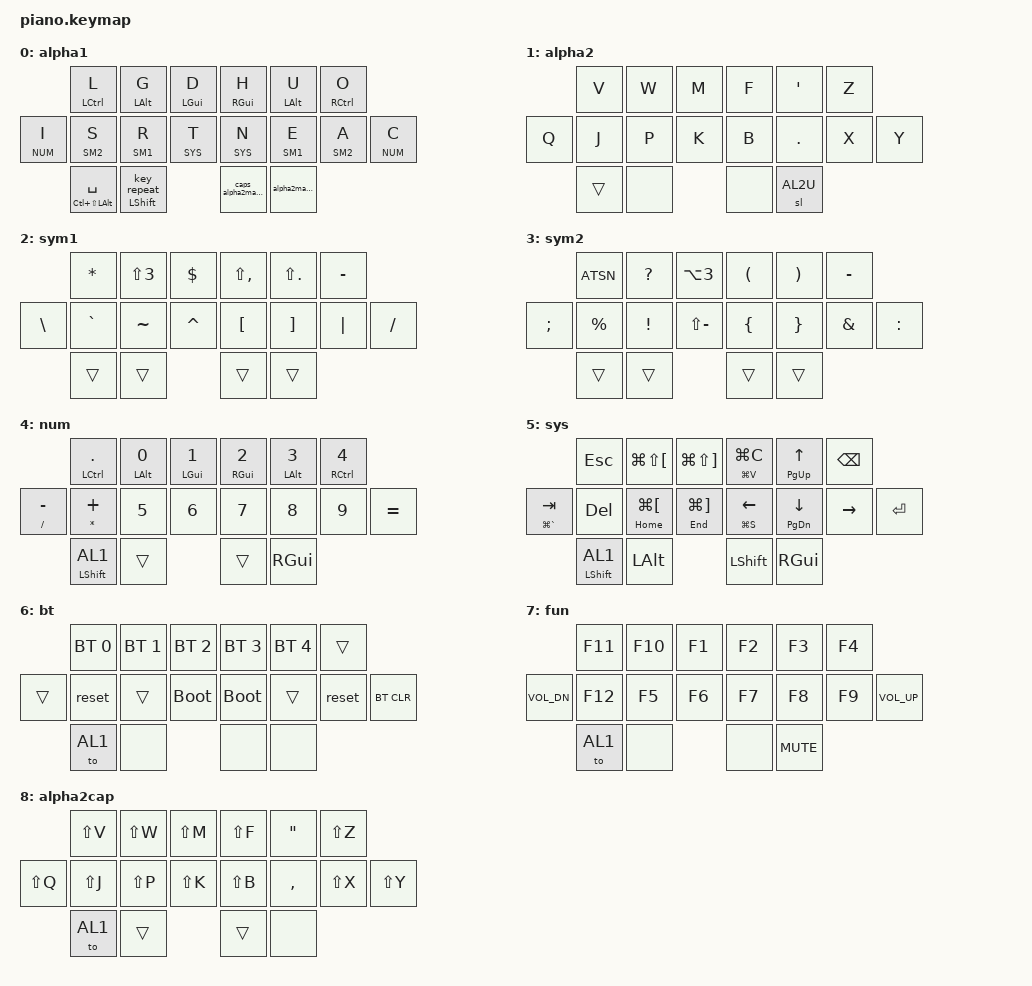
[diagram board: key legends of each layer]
/*
 * Copyright (c) 2020 The ZMK Contributors
 *
 * SPDX-License-Identifier: MIT
 */

#include <behaviors.dtsi>
#include <dt-bindings/zmk/keys.h>
#include <dt-bindings/zmk/bt.h>
#include <dt-bindings/zmk/mouse.h>



&mt {
    tapping-term-ms = <201>;
    flavor = "tap-preferred";
 };
&sk {
     release-after-ms = <2000>;
     quick-release;
 };
 
/* Layers */
#define AL1 0
#define AL2 1
#define SM1 2
#define SM2 3
#define NUM 4
#define SYS 5
#define BT 6
#define FUN 7
#define AL2U 8
/ { 
    combos {
        compatible = "zmk,combos";
        combo_sys {
            timeout-ms = <30>;
        key-positions = <3 4 5>;
            bindings = <&to SYS>;
        };
        combo_caps {
            timeout-ms = <30>;
        key-positions = <10 11 12>;
            bindings = <&caps_word>;
        };
        combo_num {
            timeout-ms = <30>;
            key-positions = <0 1 2>;
            bindings = <&to NUM>;
        };
        combo_bt  {
            timeout-ms = <10>;
            key-positions = <11 12>;
            bindings = <&to BT>;
        layers = <SM1>;
        };
        combo_fun  {
            timeout-ms = <10>;
            key-positions = <7 8>;
            bindings = <&to FUN>;
        layers = <AL1>;
        };
        lalt {
            timeout-ms = <20>;
        key-positions = <8 9>;
            bindings = <&kp LALT>; 
        layers = <SYS>;
        };
    };

    behaviors {
        hm_l: homerow_mods_left {
            compatible = "zmk,behavior-hold-tap";
            label = "HOMEROW_MODS_L";
            #binding-cells = <2>;
            tapping-term-ms = <300>;
            quick-tap-ms = <250>;
            flavor = "tap-preferred";
            bindings = <&kp>, <&kp>;
        hold-trigger-key-positions = <3 4 5 10 11 12 13 14>; // right hand
        };
        hm_r: homerow_mods_right {
            compatible = "zmk,behavior-hold-tap";
            label = "HOMEROW_MODS_R";
            #binding-cells = <2>;
            tapping-term-ms = <300>;
            quick-tap-ms = <250>;
            flavor = "tap-preferred";
            bindings = <&kp>, <&kp>;
        hold-trigger-key-positions = <0 1 2 6 7 8 9>; // left hand
        };
        sr: shift_layer {
            compatible = "zmk,behavior-hold-tap";
            label = "SHIFT_LAYER";
            #binding-cells = <2>;
            tapping-term-ms = <300>;
            quick_tap_ms = <0>;
            flavor = "tap-preferred";
            bindings = <&kp>, <&to>;
        retro-tap;
        };
        hl_l: homerow_layers_left {
            compatible = "zmk,behavior-hold-tap";
            label = "HOMEROW_LAYERS_L";
            #binding-cells = <2>;
            tapping-term-ms = <220>;
            quick-tap-ms = <250>;
            flavor = "tap-preferred";
            bindings = <&mo>, <&kp>;
        hold-trigger-key-positions = <3 4 5 10 11 12 13 14>; // right hand
        };
        hl_r: homerow_layers_right {
            compatible = "zmk,behavior-hold-tap";
            label = "HOMEROW_LAYERS_R";
            #binding-cells = <2>;
            tapping-term-ms = <220>;
            quick-tap-ms = <250>;
            flavor = "tap-preferred";
            bindings = <&mo>, <&kp>;
        hold-trigger-key-positions = <0 1 2 6 7 8 9>; // left hand
        };
    td: tapdance {
            compatible = "zmk,behavior-hold-tap";
            label = "TAPDANCE";
            #binding-cells = <2>;
            tapping-term-ms = <190>;
            quick-tap-ms = <250>;
            flavor = "tap-preferred";
            bindings = <&kp>, <&kp>;
        };
    shrep: shift_repeat {
            compatible = "zmk,behavior-hold-tap";
            label = "SHIFT_REPEAT";
            #binding-cells = <2>;
            flavor = "hold-preferred";
            tapping-term-ms = <400>;
            quick-tap-ms = <200>;
            bindings = <&kp>, <&key_repeat>;
        };
    alpha2macro: behavior_macro_1 {
        compatible = "zmk,behavior-macro";
        label = "MACRO1";
        #binding-cells = <0>;
        bindings = < &sl AL2 >;
    };
    caps_alpha2macro: behavior_macro_2 {
        compatible = "zmk,behavior-macro";
        label = "MACRO2";
        #binding-cells = <0>;
        bindings = < &sl AL2U >;
    };
    };
//                  0       1       2                   3       4           5
//          6       7       8       9                   10      11          12          13
//                          14      15                  16      17
       keymap {
                compatible = "zmk,keymap";
                
                alpha1 {
        bindings = <
                            &hm_l LCTL L    &hm_l LALT G    &hm_l LGUI D                &hm_r RGUI H    &hm_r LALT U        &hm_r RCTL O
            &hl_l NUM I     &hl_l SM2 S     &hl_l SM1 R     &hl_l SYS T                 &hl_r SYS N     &hl_r SM1 E         &hl_r SM2 A     &hl_r NUM C
                                &mt LC(LS(LALT)) SPC        &shrep LSHIFT 0             &caps_alpha2macro     &alpha2macro
        >;
        };
                alpha2 {
        bindings = <
                    &kp V       &kp W       &kp M           &kp F       &kp SQT             &kp Z
        &kp Q       &kp J       &kp P       &kp K           &kp B       &kp DOT             &kp X       &kp Y
                                &trans      &none           &none       &sl AL2U
        >;
        };

                sym1 {
        bindings = <
                    &kp STAR    &kp LS(N3)  &kp DLLR                       &kp LS(COMMA)   &kp LS(DOT)     &kp MINUS
        &kp BSLH   &kp GRAVE    &kp TILDE   &kp CARET                      &kp LBKT        &kp RBKT        &kp PIPE    &kp SLASH
                                &trans      &trans                         &trans      &trans
        >;
        };
        sym2 {
        bindings = <
                    &kp ATSN    &kp QMARK        &kp LA(N3)                &kp LPRN    &kp RPRN    &kp MINUS
        &kp SEMI    &kp PRCNT   &kp EXCL         &kp LS(MINUS)             &kp LBRC    &kp RBRC    &kp AMPS    &kp COLON
                                &trans          &trans                     &trans      &trans

        >;
        };

        num {
        bindings = <
                          &hm_l LCTL DOT      &hm_l LALT N0   &hm_l LGUI N1       &hm_r RGUI N2   &hm_r LALT N3    &hm_r RCTL N4
        &td SLASH MINUS   &td STAR PLUS       &kp N5          &kp N6              &kp N7          &kp N8           &kp N9         &kp EQUAL
                                              &sr LSHIFT AL1  &trans              &trans          &kp RGUI
        >;
        };

        sys {
        bindings = <
                            &kp ESC        &kp LG(LS(LBKT))    &kp LG(LS(RBKT))         &td LG(V) LG(C)     &td PG_UP UP    &kp BKSP
        &td LG(GRAVE) TAB   &kp DEL        &td HOME LG(LBKT)   &td END LG(RBKT)         &td LG(S) LEFT      &td PG_DN DOWN  &kp RIGHT   &kp RET
                                           &sr LSHIFT AL1      &kp LALT                 &kp LSHIFT          &kp RGUI
        >;
        };

        bt {
        bindings = <
                  &bt BT_SEL 0    &bt BT_SEL 1  &bt BT_SEL 2           &bt BT_SEL 3     &bt BT_SEL 4   &trans
        &trans    &reset          &trans        &bootloader            &bootloader      &trans         &reset  &bt BT_CLR
                                  &to AL1       &none                  &none     &none
        >;
        };
        fun {
            bindings = <
                     &kp F11   &kp F10   &kp F1           &kp F2   &kp F3   &kp F4
     &kp C_VOL_DN    &kp F12   &kp F5    &kp F6           &kp F7   &kp F8   &kp F9  &kp C_VOL_UP
                               &to AL1   &none            &none    &kp C_MUTE
                >;
        };
                alpha2cap {
        bindings = <
                    &kp LS(V)   &kp LS(W)   &kp LS(M)           &kp LS(F)   &kp DQT      &kp LS(Z)
        &kp LS(Q)   &kp LS(J)   &kp LS(P)   &kp LS(K)           &kp LS(B)   &kp COMMA    &kp LS(X)   &kp LS(Y)
                                &to AL1    &trans            &trans  &none
        >;
        };
        
    };
};
